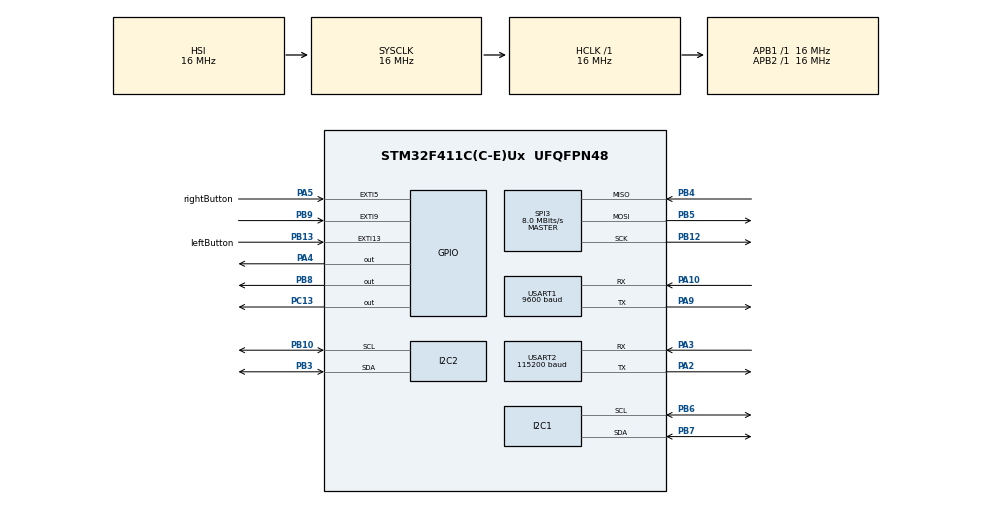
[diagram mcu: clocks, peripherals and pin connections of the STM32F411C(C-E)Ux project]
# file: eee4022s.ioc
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Mcu.Family=STM32F4
Mcu.Name=STM32F411C(C-E)Ux
Mcu.Package=UFQFPN48
NVIC.EXTI15_10_IRQn=true\:1\:0\:true\:false\:true\:true\:true\:true
NVIC.EXTI9_5_IRQn=true\:2\:0\:true\:false\:true\:true\:true\:true
NVIC.PriorityGroup=NVIC_PRIORITYGROUP_4
NVIC.TIM3_IRQn=true\:3\:0\:true\:false\:true\:true\:true\:true
NVIC.USART1_IRQn=true\:0\:0\:true\:false\:true\:true\:true\:true
NVIC.USART2_IRQn=true\:0\:0\:true\:false\:true\:true\:true\:true
PA10.Mode=Asynchronous
PA10.Signal=USART1_RX
PA2.Mode=Asynchronous
PA2.Signal=USART2_TX
PA3.Mode=Asynchronous
PA3.Signal=USART2_RX
PA4.PinState=GPIO_PIN_SET
PA4.Signal=GPIO_Output
PA5.GPIO_Label=rightButton
PA5.GPIO_ModeDefaultEXTI=GPIO_MODE_IT_FALLING
PA5.GPIO_PuPd=GPIO_PULLUP
PA5.Signal=GPXTI5
PA9.Mode=Asynchronous
PA9.Signal=USART1_TX
PB10.Mode=I2C
PB10.Signal=I2C2_SCL
PB12.Mode=Full_Duplex_Master
PB12.Signal=SPI3_SCK
PB13.GPIO_Label=leftButton
PB13.GPIO_ModeDefaultEXTI=GPIO_MODE_IT_FALLING
PB13.GPIO_PuPd=GPIO_PULLUP
PB13.Signal=GPXTI13
PB3.Mode=I2C
PB3.Signal=I2C2_SDA
PB4.Mode=Full_Duplex_Master
PB4.Signal=SPI3_MISO
PB5.Mode=Full_Duplex_Master
PB5.Signal=SPI3_MOSI
PB6.Mode=I2C
PB6.Signal=I2C1_SCL
PB7.Mode=I2C
PB7.Signal=I2C1_SDA
PB8.PinState=GPIO_PIN_SET
PB8.Signal=GPIO_Output
PB9.GPIO_ModeDefaultEXTI=GPIO_MODE_IT_RISING
PB9.Signal=GPXTI9
PC13-ANTI_TAMP.Signal=GPIO_Output
ProjectManager.HeapSize=0x200
ProjectManager.StackSize=0x400
ProjectManager.TargetToolchain=Makefile
RCC.AHBFreq_Value=16000000
RCC.APB1Freq_Value=16000000
RCC.APB1TimFreq_Value=16000000
RCC.APB2Freq_Value=16000000
RCC.APB2TimFreq_Value=16000000
RCC.CortexFreq_Value=16000000
RCC.HCLKFreq_Value=16000000
RCC.HSE_VALUE=25000000
RCC.HSI_VALUE=16000000
RCC.LSE_VALUE=32768
RCC.SYSCLKFreq_VALUE=16000000
RCC.VCOOutputFreq_Value=192000000
SPI3.BaudRatePrescaler=SPI_BAUDRATEPRESCALER_2
SPI3.CalculateBaudRate=8.0 MBits/s
SPI3.Direction=SPI_DIRECTION_2LINES
SPI3.Mode=SPI_MODE_MASTER
SPI3.VirtualType=VM_MASTER
TIM3.AutoReloadPreload=TIM_AUTORELOAD_PRELOAD_DISABLE
TIM3.Period=4000-1
TIM3.Prescaler=16000-1
USART1.BaudRate=9600
USART1.VirtualMode=VM_ASYNC
USART2.BaudRate=115200
USART2.VirtualMode=VM_ASYNC
VP_TIM3_VS_ClockSourceINT.Mode=Internal
board=custom

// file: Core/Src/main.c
/* USER CODE BEGIN Header */
/**
  ******************************************************************************
  * @file           : main.c
  * @brief          : Main program body
  ******************************************************************************
  * @attention
  *
  * Copyright (c) 2023 STMicroelectronics.
  * All rights reserved.
  *
  * This software is licensed under terms that can be found in the LICENSE file
  * in the root directory of this software component.
  * If no LICENSE file comes with this software, it is provided AS-IS.
  *
  ******************************************************************************
  */
/* USER CODE END Header */
#include "main.h"

/* USER CODE BEGIN Includes */
#include <stdio.h>
#include "minmea.h"
#include <stdlib.h>
#include <string.h>
#include <stdint.h>
#include "bmp280.h"
#include <float.h>
#include <math.h>
#include <LoRa.h>
#include "ssd1306.h"
#include "fonts.h"

/* USER CODE END Includes */

/* USER CODE BEGIN PD */
#define INDENT_SPACES "  "

/* USER CODE END PD */

I2C_HandleTypeDef hi2c1;
I2C_HandleTypeDef hi2c2;

SPI_HandleTypeDef hspi3;

TIM_HandleTypeDef htim3;

UART_HandleTypeDef huart1;
UART_HandleTypeDef huart2;

/* USER CODE BEGIN PV */
uint8_t gps_raw[512] = {"\0"};
uint8_t flag = 0;
char line[64] = {"\0"};
bool bme280p;
uint8_t transmit_data[256] = {"\0"};
LoRa myLoRa;
bool isLoraReady = true;
int preTicks = 0;
int currentTicks = 0;
int iMode = 1;
char sMode[10];
bool bModeChanged = true;
bool sendData = false;

bool beginTransmit = false;
uint16_t packetSize = 0;

//Variables to work out altitude

//Pressure at sea level
float P_b = 101325;

//Height that we are calculating
float altitude = 0;

BMP280_HandleTypedef bmp280;

float pressure, temperature, humidity;
char sPressure[128] = {"\0"};
char sTemperature[128] = {"\0"};
char sHumidity[128] = {"\0"};
char sAltitude[128] = {"\0"};

size_t size;
uint8_t Data[256] = {"\0"};

/* USER CODE END PV */

void SystemClock_Config(void);
static void MX_GPIO_Init(void);
static void MX_USART1_UART_Init(void);
static void MX_USART2_UART_Init(void);
static void MX_I2C1_Init(void);
static void MX_SPI3_Init(void);
static void MX_I2C2_Init(void);
static void MX_TIM3_Init(void);
/* USER CODE BEGIN PFP */
uint16_t buildDataPacket();

/* USER CODE END PFP */

int main(void)
{

  /* MCU Configuration--------------------------------------------------------*/

  /* Reset of all peripherals, Initializes the Flash interface and the Systick. */
  HAL_Init();

  /* Configure the system clock */
  SystemClock_Config();

  /* Initialize all configured peripherals */
  MX_GPIO_Init();
  MX_USART1_UART_Init();
  MX_USART2_UART_Init();
  MX_I2C1_Init();
  MX_SPI3_Init();
  MX_I2C2_Init();
  MX_TIM3_Init();
  /* USER CODE BEGIN 2 */

  // Start timer
  HAL_TIM_Base_Start_IT(&htim3);

  bmp280_init_default_params(&bmp280.params);
	bmp280.addr = 0x77;
	bmp280.i2c = &hi2c1;

	while (!bmp280_init(&bmp280, &bmp280.params)) {
		size = sprintf((char *)Data, "BMP280 initialization failed\n");
		HAL_UART_Transmit(&huart2, Data, size, 1000);
		HAL_Delay(2000);
	}
	bool bme280p = bmp280.id == BME280_CHIP_ID;
	size = sprintf((char *)Data, "\nBMP280: found %s\n", bme280p ? "BME280" : "BMP280");
	HAL_UART_Transmit(&huart2, Data, size, 1000);

  myLoRa = newLoRa();
  myLoRa.CS_port         = GPIOA;
  myLoRa.CS_pin          = GPIO_PIN_4;
  myLoRa.reset_port      = GPIOB;
  myLoRa.reset_pin       = GPIO_PIN_8;
  myLoRa.DIO0_port       = GPIOB;
  myLoRa.DIO0_pin        = GPIO_PIN_9;
  myLoRa.hSPIx           = &hspi3;

  myLoRa.frequency             = 433;             // default = 433 MHz
  myLoRa.spreadingFactor        = SF_7;            // default = SF_7
  myLoRa.bandWidth             = BW_7_8KHz;       // default = BW_125KHz
  myLoRa.crcRate               = CR_4_5;          // default = CR_4_5
  myLoRa.power                 = POWER_20db;      // default = 20db
  myLoRa.overCurrentProtection = 100;             // default = 100 mA
  myLoRa.preamble              = 8;              // default = 8;

  uint16_t ret = LoRa_init(&myLoRa);
  uint8_t buff[128] = {"\0"};

if (ret==LORA_OK){
  snprintf(buff,sizeof(buff),"LoRa is running... :) \n\r");
  size = strlen(&buff);
  LoRa_transmit(&myLoRa, (uint8_t*)buff, size, 100);
  HAL_UART_Transmit_IT(&huart2, buff, size);
}
else{
  snprintf(buff,sizeof(buff),"\n\r LoRa failed :( \n\r Error code: %d \n\r", ret);
  size = strlen(&buff);
  HAL_UART_Transmit_IT(&huart2, buff, size);
}

ssd1306_Init(&hi2c2);

// Set cursors and write the word "mode"
ssd1306_SetCursor(0, 0);
ssd1306_WriteString("Mode:", Font_16x26, White);

ssd1306_SetCursor(0, 35);
sprintf(sMode, "%d", iMode);
ssd1306_WriteString(sMode, Font_16x26, White);

// Copy all data from local screenbuffer to the screen
ssd1306_UpdateScreen(&hi2c2);

HAL_UARTEx_ReceiveToIdle(&huart1,(uint8_t*)gps_raw,512,512,1000);

  /* USER CODE END 2 */

  /* Infinite loop */
  /* USER CODE BEGIN WHILE */
  while (1)
  {

    if (beginTransmit) {
      //HAL_UART_Transmit(&huart2,(uint8_t *)gps_raw,512, 1000);
      HAL_UARTEx_ReceiveToIdle_IT(&huart1,(uint8_t*)gps_raw,512);
      packetSize = buildDataPacket();

      size = strlen(&transmit_data);
      ret = LoRa_transmit(&myLoRa, (uint8_t*)transmit_data, packetSize, 10000);
      memset(transmit_data, '\0', sizeof(transmit_data));

      // sprintf(transmit_data, "Data sent with code %u\n", ret);
      // size = strlen(&transmit_data);
	    // HAL_UART_Transmit(&huart2, (uint8_t *)transmit_data, size, 1000);
      // memset(transmit_data, '\0', sizeof(transmit_data));

      beginTransmit = false;
    }

    if (bModeChanged) {
switch (iMode) {
    case 1:
      // statements
      myLoRa.frequency             = 433;             // default = 433 MHz
      myLoRa.spreadingFactor        = SF_7;            // default = SF_7
      myLoRa.bandWidth             = BW_7_8KHz;       // default = BW_125KHz
      myLoRa.crcRate               = CR_4_5;          // default = CR_4_5
      myLoRa.power                 = POWER_20db;      // default = 20db
      myLoRa.overCurrentProtection = 100;             // default = 100 mA
      myLoRa.preamble              = 8;              // default = 8;
      LoRa_init(&myLoRa);
      break;

    case 2:
      // statements
      myLoRa.frequency             = 433;             // default = 433 MHz
      myLoRa.spreadingFactor        = SF_7;            // default = SF_7
      myLoRa.bandWidth             = BW_10_4KHz;       // default = BW_125KHz
      myLoRa.crcRate               = CR_4_5;          // default = CR_4_5
      myLoRa.power                 = POWER_20db;      // default = 20db
      myLoRa.overCurrentProtection = 100;             // default = 100 mA
      myLoRa.preamble              = 8;              // default = 8;
      LoRa_init(&myLoRa);
      break;

    case 3:
      // statements
      myLoRa.frequency             = 433;             // default = 433 MHz
      myLoRa.spreadingFactor        = SF_7;            // default = SF_7
      myLoRa.bandWidth             = BW_15_6KHz;       // default = BW_125KHz
      myLoRa.crcRate               = CR_4_5;          // default = CR_4_5
      myLoRa.power                 = POWER_20db;      // default = 20db
      myLoRa.overCurrentProtection = 100;             // default = 100 mA
      myLoRa.preamble              = 8;              // default = 8;
      LoRa_init(&myLoRa);
      break;

    case 4:
      // statements
      myLoRa.frequency             = 433;             // default = 433 MHz
      myLoRa.spreadingFactor        = SF_7;            // default = SF_7
      myLoRa.bandWidth             = BW_20_8KHz;       // default = BW_125KHz
      myLoRa.crcRate               = CR_4_5;          // default = CR_4_5
      myLoRa.power                 = POWER_20db;      // default = 20db
      myLoRa.overCurrentProtection = 100;             // default = 100 mA
      myLoRa.preamble              = 8;              // default = 8;
      LoRa_init(&myLoRa);
      break;

    case 5:
      // statements
      myLoRa.frequency             = 433;             // default = 433 MHz
      myLoRa.spreadingFactor        = SF_7;            // default = SF_7
      myLoRa.bandWidth             = BW_31_25KHz;       // default = BW_125KHz
      myLoRa.crcRate               = CR_4_5;          // default = CR_4_5
      myLoRa.power                 = POWER_20db;      // default = 20db
      myLoRa.overCurrentProtection = 100;             // default = 100 mA
      myLoRa.preamble              = 8;              // default = 8;
      LoRa_init(&myLoRa);
      break;

    case 6:
      // statements
      myLoRa.frequency             = 433;             // default = 433 MHz
      myLoRa.spreadingFactor        = SF_7;            // default = SF_7
      myLoRa.bandWidth             = BW_41_7KHz;       // default = BW_125KHz
      myLoRa.crcRate               = CR_4_5;          // default = CR_4_5
      myLoRa.power                 = POWER_20db;      // default = 20db
      myLoRa.overCurrentProtection = 100;             // default = 100 mA
      myLoRa.preamble              = 8;              // default = 8;
      LoRa_init(&myLoRa);
      break;

    case 7:
      // statements
      myLoRa.frequency             = 433;             // default = 433 MHz
      myLoRa.spreadingFactor        = SF_7;            // default = SF_7
      myLoRa.bandWidth             = BW_62_5KHz;       // default = BW_125KHz
      myLoRa.crcRate               = CR_4_5;          // default = CR_4_5
      myLoRa.power                 = POWER_20db;      // default = 20db
      myLoRa.overCurrentProtection = 100;             // default = 100 mA
      myLoRa.preamble              = 8;              // default = 8;
      LoRa_init(&myLoRa);
      break;

    case 8:
      // statements
      myLoRa.frequency             = 433;             // default = 433 MHz
      myLoRa.spreadingFactor        = SF_7;            // default = SF_7
      myLoRa.bandWidth             = BW_125KHz;       // default = BW_125KHz
      myLoRa.crcRate               = CR_4_5;          // default = CR_4_5
      myLoRa.power                 = POWER_20db;      // default = 20db
      myLoRa.overCurrentProtection = 100;             // default = 100 mA
      myLoRa.preamble              = 8;              // default = 8;
      LoRa_init(&myLoRa);
      break;

    case 9:
      // statements
      myLoRa.frequency             = 433;             // default = 433 MHz
      myLoRa.spreadingFactor        = SF_7;            // default = SF_7
      myLoRa.bandWidth             = BW_250KHz;       // default = BW_125KHz
      myLoRa.crcRate               = CR_4_5;          // default = CR_4_5
      myLoRa.power                 = POWER_20db;      // default = 20db
      myLoRa.overCurrentProtection = 100;             // default = 100 mA
      myLoRa.preamble              = 8;              // default = 8;
      LoRa_init(&myLoRa);
      break;

    case 10:
      // statements
      myLoRa.frequency             = 433;             // default = 433 MHz
      myLoRa.spreadingFactor        = SF_7;            // default = SF_7
      myLoRa.bandWidth             = BW_500KHz;       // default = BW_125KHz
      myLoRa.crcRate               = CR_4_5;          // default = CR_4_5
      myLoRa.power                 = POWER_20db;      // default = 20db
      myLoRa.overCurrentProtection = 100;             // default = 100 mA
      myLoRa.preamble              = 8;              // default = 8;
      LoRa_init(&myLoRa);
      break;

    case 11:
      // statements
      myLoRa.frequency             = 433;             // default = 433 MHz
      myLoRa.spreadingFactor        = SF_8;            // default = SF_7
      myLoRa.bandWidth             = BW_7_8KHz;       // default = BW_125KHz
      myLoRa.crcRate               = CR_4_5;          // default = CR_4_5
      myLoRa.power                 = POWER_20db;      // default = 20db
      myLoRa.overCurrentProtection = 100;             // default = 100 mA
      myLoRa.preamble              = 8;              // default = 8;
      LoRa_init(&myLoRa);
      break;

    case 12:
      // statements
      myLoRa.frequency             = 433;             // default = 433 MHz
      myLoRa.spreadingFactor        = SF_8;            // default = SF_7
      myLoRa.bandWidth             = BW_10_4KHz;       // default = BW_125KHz
      myLoRa.crcRate               = CR_4_5;          // default = CR_4_5
      myLoRa.power                 = POWER_20db;      // default = 20db
      myLoRa.overCurrentProtection = 100;             // default = 100 mA
      myLoRa.preamble              = 8;              // default = 8;
      LoRa_init(&myLoRa);
      break;

    case 13:
      // statements
      myLoRa.frequency             = 433;             // default = 433 MHz
      myLoRa.spreadingFactor        = SF_8;            // default = SF_7
      myLoRa.bandWidth             = BW_15_6KHz;       // default = BW_125KHz
      myLoRa.crcRate               = CR_4_5;          // default = CR_4_5
      myLoRa.power                 = POWER_20db;      // default = 20db
      myLoRa.overCurrentProtection = 100;             // default = 100 mA
      myLoRa.preamble              = 8;              // default = 8;
      LoRa_init(&myLoRa);
      break;

    case 14:
      // statements
      myLoRa.frequency             = 433;             // default = 433 MHz
      myLoRa.spreadingFactor        = SF_8;            // default = SF_7
      myLoRa.bandWidth             = BW_20_8KHz;       // default = BW_125KHz
      myLoRa.crcRate               = CR_4_5;          // default = CR_4_5
      myLoRa.power                 = POWER_20db;      // default = 20db
      myLoRa.overCurrentProtection = 100;             // default = 100 mA
      myLoRa.preamble              = 8;              // default = 8;
      LoRa_init(&myLoRa);
      break;

    case 15:
      // statements
      myLoRa.frequency             = 433;             // default = 433 MHz
      myLoRa.spreadingFactor        = SF_8;            // default = SF_7
      myLoRa.bandWidth             = BW_31_25KHz;       // default = BW_125KHz
      myLoRa.crcRate               = CR_4_5;          // default = CR_4_5
      myLoRa.power                 = POWER_20db;      // default = 20db
      myLoRa.overCurrentProtection = 100;             // default = 100 mA
      myLoRa.preamble              = 8;              // default = 8;
      LoRa_init(&myLoRa);
      break;

    case 16:
      // statements
      myLoRa.frequency             = 433;             // default = 433 MHz
      myLoRa.spreadingFactor        = SF_8;            // default = SF_7
      myLoRa.bandWidth             = BW_41_7KHz;       // default = BW_125KHz
      myLoRa.crcRate               = CR_4_5;          // default = CR_4_5
      myLoRa.power                 = POWER_20db;      // default = 20db
      myLoRa.overCurrentProtection = 100;             // default = 100 mA
      myLoRa.preamble              = 8;              // default = 8;
      LoRa_init(&myLoRa);
      break;

    case 17:
      // statements
      myLoRa.frequency             = 433;             // default = 433 MHz
      myLoRa.spreadingFactor        = SF_8;            // default = SF_7
      myLoRa.bandWidth             = BW_62_5KHz;       // default = BW_125KHz
      myLoRa.crcRate               = CR_4_5;          // default = CR_4_5
      myLoRa.power                 = POWER_20db;      // default = 20db
      myLoRa.overCurrentProtection = 100;             // default = 100 mA
      myLoRa.preamble              = 8;              // default = 8;
      LoRa_init(&myLoRa);
      break;

    case 18:
      // statements
      myLoRa.frequency             = 433;             // default = 433 MHz
      myLoRa.spreadingFactor        = SF_8;            // default = SF_7
      myLoRa.bandWidth             = BW_125KHz;       // default = BW_125KHz
      myLoRa.crcRate               = CR_4_5;          // default = CR_4_5
      myLoRa.power                 = POWER_20db;      // default = 20db
      myLoRa.overCurrentProtection = 100;             // default = 100 mA
      myLoRa.preamble              = 8;              // default = 8;
      LoRa_init(&myLoRa);
      break;

    case 19:
      // statements
      myLoRa.frequency             = 433;             // default = 433 MHz
      myLoRa.spreadingFactor        = SF_8;            // default = SF_7
      myLoRa.bandWidth             = BW_250KHz;       // default = BW_125KHz
      myLoRa.crcRate               = CR_4_5;          // default = CR_4_5
      myLoRa.power                 = POWER_20db;      // default = 20db
      myLoRa.overCurrentProtection = 100;             // default = 100 mA
      myLoRa.preamble              = 8;              // default = 8;
      LoRa_init(&myLoRa);
      break;

    case 20:
      // statements
      myLoRa.frequency             = 433;             // default = 433 MHz
      myLoRa.spreadingFactor        = SF_8;            // default = SF_7
      myLoRa.bandWidth             = BW_500KHz;       // default = BW_125KHz
      myLoRa.crcRate               = CR_4_5;          // default = CR_4_5
      myLoRa.power                 = POWER_20db;      // default = 20db
      myLoRa.overCurrentProtection = 100;             // default = 100 mA
      myLoRa.preamble              = 8;              // default = 8;
      LoRa_init(&myLoRa);
      break;

    case 21:
      // statements
      myLoRa.frequency             = 433;             // default = 433 MHz
      myLoRa.spreadingFactor        = SF_9;            // default = SF_7
      myLoRa.bandWidth             = BW_7_8KHz;       // default = BW_125KHz
      myLoRa.crcRate               = CR_4_5;          // default = CR_4_5
      myLoRa.power                 = POWER_20db;      // default = 20db
      myLoRa.overCurrentProtection = 100;             // default = 100 mA
      myLoRa.preamble              = 8;              // default = 8;
      LoRa_init(&myLoRa);
      break;

    case 22:
      // statements
      myLoRa.frequency             = 433;             // default = 433 MHz
      myLoRa.spreadingFactor        = SF_9;            // default = SF_7
      myLoRa.bandWidth             = BW_10_4KHz;       // default = BW_125KHz
      myLoRa.crcRate               = CR_4_5;          // default = CR_4_5
      myLoRa.power                 = POWER_20db;      // default = 20db
      myLoRa.overCurrentProtection = 100;             // default = 100 mA
      myLoRa.preamble              = 8;              // default = 8;
      LoRa_init(&myLoRa);
      break;

    case 23:
      // statements
      myLoRa.frequency             = 433;             // default = 433 MHz
      myLoRa.spreadingFactor        = SF_9;            // default = SF_7
      myLoRa.bandWidth             = BW_15_6KHz;       // default = BW_125KHz
      myLoRa.crcRate               = CR_4_5;          // default = CR_4_5
      myLoRa.power                 = POWER_20db;      // default = 20db
      myLoRa.overCurrentProtection = 100;             // default = 100 mA
      myLoRa.preamble              = 8;              // default = 8;
      LoRa_init(&myLoRa);
      break;

    case 24:
      // statements
      myLoRa.frequency             = 433;             // default = 433 MHz
      myLoRa.spreadingFactor        = SF_9;            // default = SF_7
      myLoRa.bandWidth             = BW_20_8KHz;       // default = BW_125KHz
      myLoRa.crcRate               = CR_4_5;          // default = CR_4_5
      myLoRa.power                 = POWER_20db;      // default = 20db
      myLoRa.overCurrentProtection = 100;             // default = 100 mA
      myLoRa.preamble              = 8;              // default = 8;
      LoRa_init(&myLoRa);
      break;

    case 25:
      // statements
      myLoRa.frequency             = 433;             // default = 433 MHz
      myLoRa.spreadingFactor        = SF_9;            // default = SF_7
      myLoRa.bandWidth             = BW_31_25KHz;       // default = BW_125KHz
      myLoRa.crcRate               = CR_4_5;          // default = CR_4_5
      myLoRa.power                 = POWER_20db;      // default = 20db
      myLoRa.overCurrentProtection = 100;             // default = 100 mA
      myLoRa.preamble              = 8;              // default = 8;
      LoRa_init(&myLoRa);
      break;

    case 26:
      // statements
      myLoRa.frequency             = 433;             // default = 433 MHz
      myLoRa.spreadingFactor        = SF_9;            // default = SF_7
      myLoRa.bandWidth             = BW_41_7KHz;       // default = BW_125KHz
      myLoRa.crcRate               = CR_4_5;          // default = CR_4_5
      myLoRa.power                 = POWER_20db;      // default = 20db
      myLoRa.overCurrentProtection = 100;             // default = 100 mA
      myLoRa.preamble              = 8;              // default = 8;
      LoRa_init(&myLoRa);
      break;

    case 27:
      // statements
      myLoRa.frequency             = 433;             // default = 433 MHz
      myLoRa.spreadingFactor        = SF_9;            // default = SF_7
      myLoRa.bandWidth             = BW_62_5KHz;       // default = BW_125KHz
      myLoRa.crcRate               = CR_4_5;          // default = CR_4_5
      myLoRa.power                 = POWER_20db;      // default = 20db
      myLoRa.overCurrentProtection = 100;             // default = 100 mA
      myLoRa.preamble              = 8;              // default = 8;
      LoRa_init(&myLoRa);
      break;

    case 28:
      // statements
      myLoRa.frequency             = 433;             // default = 433 MHz
      myLoRa.spreadingFactor        = SF_9;            // default = SF_7
      myLoRa.bandWidth             = BW_125KHz;       // default = BW_125KHz
      myLoRa.crcRate               = CR_4_5;          // default = CR_4_5
      myLoRa.power                 = POWER_20db;      // default = 20db
      myLoRa.overCurrentProtection = 100;             // default = 100 mA
      myLoRa.preamble              = 8;              // default = 8;
      LoRa_init(&myLoRa);
      break;

    case 29:
      // statements
      myLoRa.frequency             = 433;             // default = 433 MHz
      myLoRa.spreadingFactor        = SF_9;            // default = SF_7
      myLoRa.bandWidth             = BW_250KHz;       // default = BW_125KHz
      myLoRa.crcRate               = CR_4_5;          // default = CR_4_5
      myLoRa.power                 = POWER_20db;      // default = 20db
      myLoRa.overCurrentProtection = 100;             // default = 100 mA
      myLoRa.preamble              = 8;              // default = 8;
      LoRa_init(&myLoRa);
      break;

    case 30:
      // statements
      myLoRa.frequency             = 433;             // default = 433 MHz
      myLoRa.spreadingFactor        = SF_9;            // default = SF_7
      myLoRa.bandWidth             = BW_500KHz;       // default = BW_125KHz
      myLoRa.crcRate               = CR_4_5;          // default = CR_4_5
      myLoRa.power                 = POWER_20db;      // default = 20db
      myLoRa.overCurrentProtection = 100;             // default = 100 mA
      myLoRa.preamble              = 8;              // default = 8;
      LoRa_init(&myLoRa);
      break;

    case 31:
      // statements
      myLoRa.frequency             = 433;             // default = 433 MHz
      myLoRa.spreadingFactor        = SF_10;            // default = SF_7
      myLoRa.bandWidth             = BW_7_8KHz;       // default = BW_125KHz
      myLoRa.crcRate               = CR_4_5;          // default = CR_4_5
      myLoRa.power                 = POWER_20db;      // default = 20db
      myLoRa.overCurrentProtection = 100;             // default = 100 mA
      myLoRa.preamble              = 8;              // default = 8;
      LoRa_init(&myLoRa);
      break;

    case 32:
      // statements
      myLoRa.frequency             = 433;             // default = 433 MHz
      myLoRa.spreadingFactor        = SF_10;            // default = SF_7
      myLoRa.bandWidth             = BW_10_4KHz;       // default = BW_125KHz
      myLoRa.crcRate               = CR_4_5;          // default = CR_4_5
      myLoRa.power                 = POWER_20db;      // default = 20db
      myLoRa.overCurrentProtection = 100;             // default = 100 mA
      myLoRa.preamble              = 8;              // default = 8;
      LoRa_init(&myLoRa);
      break;

    case 33:
      // statements
      myLoRa.frequency             = 433;             // default = 433 MHz
      myLoRa.spreadingFactor        = SF_10;            // default = SF_7
      myLoRa.bandWidth             = BW_15_6KHz;       // default = BW_125KHz
      myLoRa.crcRate               = CR_4_5;          // default = CR_4_5
      myLoRa.power                 = POWER_20db;      // default = 20db
      myLoRa.overCurrentProtection = 100;             // default = 100 mA
      myLoRa.preamble              = 8;              // default = 8;
      LoRa_init(&myLoRa);
      break;

    case 34:
      // statements
      myLoRa.frequency             = 433;             // default = 433 MHz
      myLoRa.spreadingFactor        = SF_10;            // default = SF_7
      myLoRa.bandWidth             = BW_20_8KHz;       // default = BW_125KHz
      myLoRa.crcRate               = CR_4_5;          // default = CR_4_5
      myLoRa.power                 = POWER_20db;      // default = 20db
      myLoRa.overCurrentProtection = 100;             // default = 100 mA
      myLoRa.preamble              = 8;              // default = 8;
      LoRa_init(&myLoRa);
      break;

    case 35:
      // statements
      myLoRa.frequency             = 433;             // default = 433 MHz
      myLoRa.spreadingFactor        = SF_10;            // default = SF_7
      myLoRa.bandWidth             = BW_31_25KHz;       // default = BW_125KHz
      myLoRa.crcRate               = CR_4_5;          // default = CR_4_5
      myLoRa.power                 = POWER_20db;      // default = 20db
      myLoRa.overCurrentProtection = 100;             // default = 100 mA
      myLoRa.preamble              = 8;              // default = 8;
      LoRa_init(&myLoRa);
      break;

    case 36:
      // statements
      myLoRa.frequency             = 433;             // default = 433 MHz
      myLoRa.spreadingFactor        = SF_10;            // default = SF_7
      myLoRa.bandWidth             = BW_41_7KHz;       // default = BW_125KHz
      myLoRa.crcRate               = CR_4_5;          // default = CR_4_5
      myLoRa.power                 = POWER_20db;      // default = 20db
      myLoRa.overCurrentProtection = 100;             // default = 100 mA
      myLoRa.preamble              = 8;              // default = 8;
      LoRa_init(&myLoRa);
      break;

    case 37:
      // statements
      myLoRa.frequency             = 433;             // default = 433 MHz
      myLoRa.spreadingFactor        = SF_10;            // default = SF_7
      myLoRa.bandWidth             = BW_62_5KHz;       // default = BW_125KHz
      myLoRa.crcRate               = CR_4_5;          // default = CR_4_5
      myLoRa.power                 = POWER_20db;      // default = 20db
      myLoRa.overCurrentProtection = 100;             // default = 100 mA
      myLoRa.preamble              = 8;              // default = 8;
      LoRa_init(&myLoRa);
      break;

    case 38:
      // statements
      myLoRa.frequency             = 433;             // default = 433 MHz
      myLoRa.spreadingFactor        = SF_10;            // default = SF_7
      myLoRa.bandWidth             = BW_125KHz;       // default = BW_125KHz
      myLoRa.crcRate               = CR_4_5;          // default = CR_4_5
      myLoRa.power                 = POWER_20db;      // default = 20db
      myLoRa.overCurrentProtection = 100;             // default = 100 mA
      myLoRa.preamble              = 8;              // default = 8;
      LoRa_init(&myLoRa);
      break;

    case 39:
      // statements
      myLoRa.frequency             = 433;             // default = 433 MHz
      myLoRa.spreadingFactor        = SF_10;            // default = SF_7
      myLoRa.bandWidth             = BW_250KHz;       // default = BW_125KHz
      myLoRa.crcRate               = CR_4_5;          // default = CR_4_5
      myLoRa.power                 = POWER_20db;      // default = 20db
      myLoRa.overCurrentProtection = 100;             // default = 100 mA
      myLoRa.preamble              = 8;              // default = 8;
      LoRa_init(&myLoRa);
      break;

    case 40:
      // statements
      myLoRa.frequency             = 433;             // default = 433 MHz
      myLoRa.spreadingFactor        = SF_10;            // default = SF_7
      myLoRa.bandWidth             = BW_500KHz;       // default = BW_125KHz
      myLoRa.crcRate               = CR_4_5;          // default = CR_4_5
      myLoRa.power                 = POWER_20db;      // default = 20db
      myLoRa.overCurrentProtection = 100;             // default = 100 mA
      myLoRa.preamble              = 8;              // default = 8;
      LoRa_init(&myLoRa);
      break;

    case 41:
      // statements
      myLoRa.frequency             = 433;             // default = 433 MHz
      myLoRa.spreadingFactor        = SF_11;            // default = SF_7
      myLoRa.bandWidth             = BW_7_8KHz;       // default = BW_125KHz
      myLoRa.crcRate               = CR_4_5;          // default = CR_4_5
      myLoRa.power                 = POWER_20db;      // default = 20db
      myLoRa.overCurrentProtection = 100;             // default = 100 mA
      myLoRa.preamble              = 8;              // default = 8;
      LoRa_init(&myLoRa);
      break;

    case 42:
      // statements
      myLoRa.frequency             = 433;             // default = 433 MHz
      myLoRa.spreadingFactor        = SF_11;            // default = SF_7
      myLoRa.bandWidth             = BW_10_4KHz;       // default = BW_125KHz
      myLoRa.crcRate               = CR_4_5;          // default = CR_4_5
      myLoRa.power                 = POWER_20db;      // default = 20db
      myLoRa.overCurrentProtection = 100;             // default = 100 mA
      myLoRa.preamble              = 8;              // default = 8;
      LoRa_init(&myLoRa);
      break;

    case 43:
      // statements
      myLoRa.frequency             = 433;             // default = 433 MHz
      myLoRa.spreadingFactor        = SF_11;            // default = SF_7
      myLoRa.bandWidth             = BW_15_6KHz;       // default = BW_125KHz
      myLoRa.crcRate               = CR_4_5;          // default = CR_4_5
      myLoRa.power                 = POWER_20db;      // default = 20db
      myLoRa.overCurrentProtection = 100;             // default = 100 mA
      myLoRa.preamble              = 8;              // default = 8;
      LoRa_init(&myLoRa);
      break;

    case 44:
      // statements
      myLoRa.frequency             = 433;             // default = 433 MHz
      myLoRa.spreadingFactor        = SF_11;            // default = SF_7
      myLoRa.bandWidth             = BW_20_8KHz;       // default = BW_125KHz
      myLoRa.crcRate               = CR_4_5;          // default = CR_4_5
      myLoRa.power                 = POWER_20db;      // default = 20db
      myLoRa.overCurrentProtection = 100;             // default = 100 mA
      myLoRa.preamble              = 8;              // default = 8;
      LoRa_init(&myLoRa);
      break;

    case 45:
      // statements
      myLoRa.frequency             = 433;             // default = 433 MHz
      myLoRa.spreadingFactor        = SF_11;            // default = SF_7
      myLoRa.bandWidth             = BW_31_25KHz;       // default = BW_125KHz
      myLoRa.crcRate               = CR_4_5;          // default = CR_4_5
      myLoRa.power                 = POWER_20db;      // default = 20db
      myLoRa.overCurrentProtection = 100;             // default = 100 mA
      myLoRa.preamble              = 8;              // default = 8;
      LoRa_init(&myLoRa);
      break;

    case 46:
      // statements
      myLoRa.frequency             = 433;             // default = 433 MHz
      myLoRa.spreadingFactor        = SF_11;            // default = SF_7
      myLoRa.bandWidth             = BW_41_7KHz;       // default = BW_125KHz
      myLoRa.crcRate               = CR_4_5;          // default = CR_4_5
      myLoRa.power                 = POWER_20db;      // default = 20db
      myLoRa.overCurrentProtection = 100;             // default = 100 mA
      myLoRa.preamble              = 8;              // default = 8;
      LoRa_init(&myLoRa);
      break;

    case 47:
      // statements
      myLoRa.frequency             = 433;             // default = 433 MHz
      myLoRa.spreadingFactor        = SF_11;            // default = SF_7
      myLoRa.bandWidth             = BW_62_5KHz;       // default = BW_125KHz
      myLoRa.crcRate               = CR_4_5;          // default = CR_4_5
      myLoRa.power                 = POWER_20db;      // default = 20db
      myLoRa.overCurrentProtection = 100;             // default = 100 mA
      myLoRa.preamble              = 8;              // default = 8;
      LoRa_init(&myLoRa);
      break;

    case 48:
      // statements
      myLoRa.frequency             = 433;             // default = 433 MHz
      myLoRa.spreadingFactor        = SF_11;            // default = SF_7
      myLoRa.bandWidth             = BW_125KHz;       // default = BW_125KHz
      myLoRa.crcRate               = CR_4_5;          // default = CR_4_5
      myLoRa.power                 = POWER_20db;      // default = 20db
      myLoRa.overCurrentProtection = 100;             // default = 100 mA
      myLoRa.preamble              = 8;              // default = 8;
      LoRa_init(&myLoRa);
      break;

    case 49:
      // statements
      myLoRa.frequency             = 433;             // default = 433 MHz
      myLoRa.spreadingFactor        = SF_11;            // default = SF_7
      myLoRa.bandWidth             = BW_250KHz;       // default = BW_125KHz
      myLoRa.crcRate               = CR_4_5;          // default = CR_4_5
      myLoRa.power                 = POWER_20db;      // default = 20db
      myLoRa.overCurrentProtection = 100;             // default = 100 mA
      myLoRa.preamble              = 8;              // default = 8;
      LoRa_init(&myLoRa);
      break;

    case 50:
      // statements
      myLoRa.frequency             = 433;             // default = 433 MHz
      myLoRa.spreadingFactor        = SF_11;            // default = SF_7
      myLoRa.bandWidth             = BW_500KHz;       // default = BW_125KHz
      myLoRa.crcRate               = CR_4_5;          // default = CR_4_5
      myLoRa.power                 = POWER_20db;      // default = 20db
      myLoRa.overCurrentProtection = 100;             // default = 100 mA
      myLoRa.preamble              = 8;              // default = 8;
      LoRa_init(&myLoRa);
      break;

    case 51:
      // statements
      myLoRa.frequency             = 433;             // default = 433 MHz
      myLoRa.spreadingFactor        = SF_12;            // default = SF_7
      myLoRa.bandWidth             = BW_7_8KHz;       // default = BW_125KHz
      myLoRa.crcRate               = CR_4_5;          // default = CR_4_5
      myLoRa.power                 = POWER_20db;      // default = 20db
      myLoRa.overCurrentProtection = 100;             // default = 100 mA
      myLoRa.preamble              = 8;              // default = 8;
      LoRa_init(&myLoRa);
      break;

    case 52:
      // statements
      myLoRa.frequency             = 433;             // default = 433 MHz
      myLoRa.spreadingFactor        = SF_12;            // default = SF_7
      myLoRa.bandWidth             = BW_10_4KHz;       // default = BW_125KHz
      myLoRa.crcRate               = CR_4_5;          // default = CR_4_5
      myLoRa.power                 = POWER_20db;      // default = 20db
      myLoRa.overCurrentProtection = 100;             // default = 100 mA
      myLoRa.preamble              = 8;              // default = 8;
      LoRa_init(&myLoRa);
      break;

    case 53:
      // statements
      myLoRa.frequency             = 433;             // default = 433 MHz
      myLoRa.spreadingFactor        = SF_12;            // default = SF_7
      myLoRa.bandWidth             = BW_15_6KHz;       // default = BW_125KHz
      myLoRa.crcRate               = CR_4_5;          // default = CR_4_5
      myLoRa.power                 = POWER_20db;      // default = 20db
      myLoRa.overCurrentProtection = 100;             // default = 100 mA
      myLoRa.preamble              = 8;              // default = 8;
      LoRa_init(&myLoRa);
      break;

    case 54:
      // statements
      myLoRa.frequency             = 433;             // default = 433 MHz
      myLoRa.spreadingFactor        = SF_12;            // default = SF_7
      myLoRa.bandWidth             = BW_20_8KHz;       // default = BW_125KHz
      myLoRa.crcRate               = CR_4_5;          // default = CR_4_5
      myLoRa.power                 = POWER_20db;      // default = 20db
      myLoRa.overCurrentProtection = 100;             // default = 100 mA
      myLoRa.preamble              = 8;              // default = 8;
      LoRa_init(&myLoRa);
      break;

    case 55:
      // statements
      myLoRa.frequency             = 433;             // default = 433 MHz
      myLoRa.spreadingFactor        = SF_12;            // default = SF_7
      myLoRa.bandWidth             = BW_31_25KHz;       // default = BW_125KHz
      myLoRa.crcRate               = CR_4_5;          // default = CR_4_5
      myLoRa.power                 = POWER_20db;      // default = 20db
      myLoRa.overCurrentProtection = 100;             // default = 100 mA
      myLoRa.preamble              = 8;              // default = 8;
      LoRa_init(&myLoRa);
      break;

    case 56:
      // statements
      myLoRa.frequency             = 433;             // default = 433 MHz
      myLoRa.spreadingFactor        = SF_12;            // default = SF_7
      myLoRa.bandWidth             = BW_41_7KHz;       // default = BW_125KHz
      myLoRa.crcRate               = CR_4_5;          // default = CR_4_5
      myLoRa.power                 = POWER_20db;      // default = 20db
      myLoRa.overCurrentProtection = 100;             // default = 100 mA
      myLoRa.preamble              = 8;              // default = 8;
      LoRa_init(&myLoRa);
      break;

    case 57:
      // statements
      myLoRa.frequency             = 433;             // default = 433 MHz
      myLoRa.spreadingFactor        = SF_12;            // default = SF_7
      myLoRa.bandWidth             = BW_62_5KHz;       // default = BW_125KHz
      myLoRa.crcRate               = CR_4_5;          // default = CR_4_5
      myLoRa.power                 = POWER_20db;      // default = 20db
      myLoRa.overCurrentProtection = 100;             // default = 100 mA
      myLoRa.preamble              = 8;              // default = 8;
      LoRa_init(&myLoRa);
      break;

    case 58:
      // statements
      myLoRa.frequency             = 433;             // default = 433 MHz
      myLoRa.spreadingFactor        = SF_12;            // default = SF_7
      myLoRa.bandWidth             = BW_125KHz;       // default = BW_125KHz
      myLoRa.crcRate               = CR_4_5;          // default = CR_4_5
      myLoRa.power                 = POWER_20db;      // default = 20db
      myLoRa.overCurrentProtection = 100;             // default = 100 mA
      myLoRa.preamble              = 8;              // default = 8;
      LoRa_init(&myLoRa);
      break;

    case 59:
      // statements
      myLoRa.frequency             = 433;             // default = 433 MHz
      myLoRa.spreadingFactor        = SF_12;            // default = SF_7
      myLoRa.bandWidth             = BW_250KHz;       // default = BW_125KHz
      myLoRa.crcRate               = CR_4_5;          // default = CR_4_5
      myLoRa.power                 = POWER_20db;      // default = 20db
      myLoRa.overCurrentProtection = 100;             // default = 100 mA
      myLoRa.preamble              = 8;              // default = 8;
      LoRa_init(&myLoRa);
      break;

    case 60:
      // statements
      myLoRa.frequency             = 433;             // default = 433 MHz
      myLoRa.spreadingFactor        = SF_12;            // default = SF_7
      myLoRa.bandWidth             = BW_500KHz;       // default = BW_125KHz
      myLoRa.crcRate               = CR_4_5;          // default = CR_4_5
      myLoRa.power                 = POWER_20db;      // default = 20db
      myLoRa.overCurrentProtection = 100;             // default = 100 mA
      myLoRa.preamble              = 8;              // default = 8;
      LoRa_init(&myLoRa);
      break;

    default:
      // default statements
}
      bModeChanged = false;

      // sprintf(transmit_data, "Data Optimization %d\n", myLoRa.lowDataRateOptimization);
      // size = strlen(&transmit_data);
	    // HAL_UART_Transmit(&huart2, (uint8_t *)transmit_data, size, 1000);
      // memset(transmit_data, '\0', sizeof(transmit_data));
    }

    /* USER CODE END WHILE */

    /* USER CODE BEGIN 3 */
    //HAL_UART_Transmit_IT(&huart2, (uint8_t *)Gpsdata, sizeof(Gpsdata));
    //HAL_GPIO_TogglePin(GPIOC, GPIO_PIN_13);
    HAL_UARTEx_ReceiveToIdle_IT(&huart1,(uint8_t*)gps_raw,512);

  }
  /* USER CODE END 3 */
}

void SystemClock_Config(void)
{
  RCC_OscInitTypeDef RCC_OscInitStruct = {0};
  RCC_ClkInitTypeDef RCC_ClkInitStruct = {0};

  /** Configure the main internal regulator output voltage
  */
  __HAL_RCC_PWR_CLK_ENABLE();
  __HAL_PWR_VOLTAGESCALING_CONFIG(PWR_REGULATOR_VOLTAGE_SCALE1);

  /** Initializes the RCC Oscillators according to the specified parameters
  * in the RCC_OscInitTypeDef structure.
  */
  RCC_OscInitStruct.OscillatorType = RCC_OSCILLATORTYPE_HSI;
  RCC_OscInitStruct.HSIState = RCC_HSI_ON;
  RCC_OscInitStruct.HSICalibrationValue = RCC_HSICALIBRATION_DEFAULT;
  RCC_OscInitStruct.PLL.PLLState = RCC_PLL_NONE;
  if (HAL_RCC_OscConfig(&RCC_OscInitStruct) != HAL_OK)
  {
    Error_Handler();
  }

  /** Initializes the CPU, AHB and APB buses clocks
  */
  RCC_ClkInitStruct.ClockType = RCC_CLOCKTYPE_HCLK|RCC_CLOCKTYPE_SYSCLK
                              |RCC_CLOCKTYPE_PCLK1|RCC_CLOCKTYPE_PCLK2;
  RCC_ClkInitStruct.SYSCLKSource = RCC_SYSCLKSOURCE_HSI;
  RCC_ClkInitStruct.AHBCLKDivider = RCC_SYSCLK_DIV1;
  RCC_ClkInitStruct.APB1CLKDivider = RCC_HCLK_DIV1;
  RCC_ClkInitStruct.APB2CLKDivider = RCC_HCLK_DIV1;

  if (HAL_RCC_ClockConfig(&RCC_ClkInitStruct, FLASH_LATENCY_0) != HAL_OK)
  {
    Error_Handler();
  }
}

static void MX_I2C1_Init(void)
{

  hi2c1.Instance = I2C1;
  hi2c1.Init.ClockSpeed = 100000;
  hi2c1.Init.DutyCycle = I2C_DUTYCYCLE_2;
  hi2c1.Init.OwnAddress1 = 0;
  hi2c1.Init.AddressingMode = I2C_ADDRESSINGMODE_7BIT;
  hi2c1.Init.DualAddressMode = I2C_DUALADDRESS_DISABLE;
  hi2c1.Init.OwnAddress2 = 0;
  hi2c1.Init.GeneralCallMode = I2C_GENERALCALL_DISABLE;
  hi2c1.Init.NoStretchMode = I2C_NOSTRETCH_DISABLE;
  if (HAL_I2C_Init(&hi2c1) != HAL_OK)
  {
    Error_Handler();
  }

}

static void MX_I2C2_Init(void)
{

  hi2c2.Instance = I2C2;
  hi2c2.Init.ClockSpeed = 100000;
  hi2c2.Init.DutyCycle = I2C_DUTYCYCLE_2;
  hi2c2.Init.OwnAddress1 = 0;
  hi2c2.Init.AddressingMode = I2C_ADDRESSINGMODE_7BIT;
  hi2c2.Init.DualAddressMode = I2C_DUALADDRESS_DISABLE;
  hi2c2.Init.OwnAddress2 = 0;
  hi2c2.Init.GeneralCallMode = I2C_GENERALCALL_DISABLE;
  hi2c2.Init.NoStretchMode = I2C_NOSTRETCH_DISABLE;
  if (HAL_I2C_Init(&hi2c2) != HAL_OK)
  {
    Error_Handler();
  }

}

static void MX_SPI3_Init(void)
{

  /* SPI3 parameter configuration*/
  hspi3.Instance = SPI3;
  hspi3.Init.Mode = SPI_MODE_MASTER;
  hspi3.Init.Direction = SPI_DIRECTION_2LINES;
  hspi3.Init.DataSize = SPI_DATASIZE_8BIT;
  hspi3.Init.CLKPolarity = SPI_POLARITY_LOW;
  hspi3.Init.CLKPhase = SPI_PHASE_1EDGE;
  hspi3.Init.NSS = SPI_NSS_SOFT;
  hspi3.Init.BaudRatePrescaler = SPI_BAUDRATEPRESCALER_2;
  hspi3.Init.FirstBit = SPI_FIRSTBIT_MSB;
  hspi3.Init.TIMode = SPI_TIMODE_DISABLE;
  hspi3.Init.CRCCalculation = SPI_CRCCALCULATION_DISABLE;
  hspi3.Init.CRCPolynomial = 10;
  if (HAL_SPI_Init(&hspi3) != HAL_OK)
  {
    Error_Handler();
  }

}

static void MX_TIM3_Init(void)
{

  TIM_ClockConfigTypeDef sClockSourceConfig = {0};
  TIM_MasterConfigTypeDef sMasterConfig = {0};

  htim3.Instance = TIM3;
  htim3.Init.Prescaler = 16000-1;
  htim3.Init.CounterMode = TIM_COUNTERMODE_UP;
  htim3.Init.Period = 4000-1;
  htim3.Init.ClockDivision = TIM_CLOCKDIVISION_DIV1;
  htim3.Init.AutoReloadPreload = TIM_AUTORELOAD_PRELOAD_DISABLE;
  if (HAL_TIM_Base_Init(&htim3) != HAL_OK)
  {
    Error_Handler();
  }
  sClockSourceConfig.ClockSource = TIM_CLOCKSOURCE_INTERNAL;
  if (HAL_TIM_ConfigClockSource(&htim3, &sClockSourceConfig) != HAL_OK)
  {
    Error_Handler();
  }
  sMasterConfig.MasterOutputTrigger = TIM_TRGO_RESET;
  sMasterConfig.MasterSlaveMode = TIM_MASTERSLAVEMODE_DISABLE;
  if (HAL_TIMEx_MasterConfigSynchronization(&htim3, &sMasterConfig) != HAL_OK)
  {
    Error_Handler();
  }

}

static void MX_USART1_UART_Init(void)
{

  huart1.Instance = USART1;
  huart1.Init.BaudRate = 9600;
  huart1.Init.WordLength = UART_WORDLENGTH_8B;
  huart1.Init.StopBits = UART_STOPBITS_1;
  huart1.Init.Parity = UART_PARITY_NONE;
  huart1.Init.Mode = UART_MODE_TX_RX;
  huart1.Init.HwFlowCtl = UART_HWCONTROL_NONE;
  huart1.Init.OverSampling = UART_OVERSAMPLING_16;
  if (HAL_UART_Init(&huart1) != HAL_OK)
  {
    Error_Handler();
  }

}

static void MX_USART2_UART_Init(void)
{

  huart2.Instance = USART2;
  huart2.Init.BaudRate = 115200;
  huart2.Init.WordLength = UART_WORDLENGTH_8B;
  huart2.Init.StopBits = UART_STOPBITS_1;
  huart2.Init.Parity = UART_PARITY_NONE;
  huart2.Init.Mode = UART_MODE_TX_RX;
  huart2.Init.HwFlowCtl = UART_HWCONTROL_NONE;
  huart2.Init.OverSampling = UART_OVERSAMPLING_16;
  if (HAL_UART_Init(&huart2) != HAL_OK)
  {
    Error_Handler();
  }

}

static void MX_GPIO_Init(void)
{
  GPIO_InitTypeDef GPIO_InitStruct = {0};

  /* GPIO Ports Clock Enable */
  __HAL_RCC_GPIOC_CLK_ENABLE();
  __HAL_RCC_GPIOA_CLK_ENABLE();
  __HAL_RCC_GPIOB_CLK_ENABLE();

  /*Configure GPIO pin Output Level */
  HAL_GPIO_WritePin(GPIOC, GPIO_PIN_13, GPIO_PIN_RESET);

  /*Configure GPIO pin Output Level */
  HAL_GPIO_WritePin(GPIOA, GPIO_PIN_4, GPIO_PIN_SET);

  /*Configure GPIO pin Output Level */
  HAL_GPIO_WritePin(GPIOB, GPIO_PIN_8, GPIO_PIN_SET);

  /*Configure GPIO pin : PC13 */
  GPIO_InitStruct.Pin = GPIO_PIN_13;
  GPIO_InitStruct.Mode = GPIO_MODE_OUTPUT_PP;
  GPIO_InitStruct.Pull = GPIO_NOPULL;
  GPIO_InitStruct.Speed = GPIO_SPEED_FREQ_LOW;
  HAL_GPIO_Init(GPIOC, &GPIO_InitStruct);

  /*Configure GPIO pin : PA4 */
  GPIO_InitStruct.Pin = GPIO_PIN_4;
  GPIO_InitStruct.Mode = GPIO_MODE_OUTPUT_PP;
  GPIO_InitStruct.Pull = GPIO_NOPULL;
  GPIO_InitStruct.Speed = GPIO_SPEED_FREQ_LOW;
  HAL_GPIO_Init(GPIOA, &GPIO_InitStruct);

  /*Configure GPIO pin : rightButton_Pin */
  GPIO_InitStruct.Pin = rightButton_Pin;
  GPIO_InitStruct.Mode = GPIO_MODE_IT_FALLING;
  GPIO_InitStruct.Pull = GPIO_PULLUP;
  HAL_GPIO_Init(rightButton_GPIO_Port, &GPIO_InitStruct);

  /*Configure GPIO pin : leftButton_Pin */
  GPIO_InitStruct.Pin = leftButton_Pin;
  GPIO_InitStruct.Mode = GPIO_MODE_IT_FALLING;
  GPIO_InitStruct.Pull = GPIO_PULLUP;
  HAL_GPIO_Init(leftButton_GPIO_Port, &GPIO_InitStruct);

  /*Configure GPIO pin : PB8 */
  GPIO_InitStruct.Pin = GPIO_PIN_8;
  GPIO_InitStruct.Mode = GPIO_MODE_OUTPUT_PP;
  GPIO_InitStruct.Pull = GPIO_NOPULL;
  GPIO_InitStruct.Speed = GPIO_SPEED_FREQ_LOW;
  HAL_GPIO_Init(GPIOB, &GPIO_InitStruct);

  /*Configure GPIO pin : PB9 */
  GPIO_InitStruct.Pin = GPIO_PIN_9;
  GPIO_InitStruct.Mode = GPIO_MODE_IT_RISING;
  GPIO_InitStruct.Pull = GPIO_NOPULL;
  HAL_GPIO_Init(GPIOB, &GPIO_InitStruct);

  /* EXTI interrupt init*/
  HAL_NVIC_SetPriority(EXTI9_5_IRQn, 0, 0);
  HAL_NVIC_EnableIRQ(EXTI9_5_IRQn);

  HAL_NVIC_SetPriority(EXTI15_10_IRQn, 0, 0);
  HAL_NVIC_EnableIRQ(EXTI15_10_IRQn);

}

/* USER CODE BEGIN 4 */
uint16_t buildDataPacket() {
  //Set memory of line_out to emtpy
  //memset(line_out, '\0', sizeof(line_out));
  memset(transmit_data, '\0', sizeof(transmit_data));

  //Copy a new line character to line_out
  //memcpy(line_out, "\r\n\n", sizeof("\r\n\n"));
  //memcpy(transmit_data, "\r\n\n", sizeof("\r\n\n"));

  //Transmit the data over uart2
  //HAL_UART_Transmit(&huart2, (uint8_t*)line_out, sizeof(line_out)/sizeof(line_out[0]), 1000);

  //Search for the \n character
  uint8_t *token = strtok(gps_raw, "\n");

  if (token == NULL) {
    //break
  } else {
    //memset(line, '\0', sizeof(line));
    strcpy(line, token);
    struct minmea_sentence_rmc frame;
    if (minmea_parse_rmc(&frame, line)) {
      //Set gps_raw data register to empty
      memset(gps_raw, '\0', sizeof(gps_raw));
      //memset(line_out, '\0', sizeof(line_out));
      sprintf(transmit_data + strlen(transmit_data),"%d:%d:%d|",frame.time.hours, frame.time.minutes,frame.time.seconds);
      //HAL_UART_Transmit(&huart2, (uint8_t*)line_out, sizeof(line_out)/sizeof(line_out[0]), 1000);

      //memset(line_out, '\0', sizeof(line_out));
      sprintf(transmit_data + strlen(transmit_data), "(%d,%d)|", frame.latitude.value,frame.longitude.value);
      //HAL_UART_Transmit(&huart2, (uint8_t*)line_out, sizeof(line_out)/sizeof(line_out[0]), 1000);
    }
  }

  	//HAL_Delay(100);
	while (!bmp280_read_float(&bmp280, &temperature, &pressure, &humidity)) {
	  size = sprintf(transmit_data + strlen(transmit_data),"Temperature/pressure reading failed\n");
	}

  altitude = 44330*(1-pow((pressure/P_b),(1/5.255)));

  gcvt(altitude, 6, sAltitude);
  gcvt(pressure, 8, sPressure);
  gcvt(temperature, 4, sTemperature);
  gcvt(humidity, 4, sHumidity);

	sprintf(transmit_data + strlen(transmit_data),"%s|%s|%s|%s",sPressure, sTemperature, sHumidity, sAltitude);
  return strlen(transmit_data);
}

void HAL_GPIO_EXTI_Callback(uint16_t GPIO_Pin)
{
  if(GPIO_Pin == GPIO_PIN_13) // Left button pushed
    {
      //get the current time
      currentTicks = HAL_GetTick();
      if (((currentTicks-preTicks)>200)) {
        memset(transmit_data, '\0', sizeof(transmit_data));
        sprintf(transmit_data,"%s","\nLeft Button Pushed");
	      HAL_UART_Transmit(&huart2, transmit_data, sizeof(transmit_data)/sizeof(transmit_data[0]),1000);
        memset(transmit_data, '\0', sizeof(transmit_data));
        bModeChanged = true;

        if (iMode == 1) {
          iMode = 60;
          // Set cursors and write the word "mode"
          ssd1306_SetCursor(0, 0);
          ssd1306_WriteString("Mode:", Font_16x26, White);

          ssd1306_SetCursor(0, 35);
          sprintf(sMode, "%d        ", iMode);
          ssd1306_WriteString(sMode, Font_16x26, White);

          // Copy all data from local screenbuffer to the screen
          ssd1306_UpdateScreen(&hi2c2);
        } else {
          iMode = iMode - 1;
          // Set cursors and write the word "mode"
          ssd1306_SetCursor(0, 0);
          ssd1306_WriteString("Mode:", Font_16x26, White);

          ssd1306_SetCursor(0, 35);
          sprintf(sMode, "%d        ", iMode);
          ssd1306_WriteString(sMode, Font_16x26, White);

          // Copy all data from local screenbuffer to the screen
          ssd1306_UpdateScreen(&hi2c2);

        }

      } else {
        //break
      }
    }

  if(GPIO_Pin == GPIO_PIN_5) // Right button pushed
    {
      //get the current time
      currentTicks = HAL_GetTick();
      if (((currentTicks-preTicks)>200 )) {
        memset(transmit_data, '\0', sizeof(transmit_data));
        sprintf(transmit_data,"%s","\nRight Button Pushed");
	      HAL_UART_Transmit(&huart2, transmit_data, sizeof(transmit_data)/sizeof(transmit_data[0]),1000);
        memset(transmit_data, '\0', sizeof(transmit_data));
        bModeChanged = true;

        if (iMode == 60) {
          iMode = 1;
          // Set cursors and write the word "mode"
          ssd1306_SetCursor(0, 0);
          ssd1306_WriteString("Mode:", Font_16x26, White);

          ssd1306_SetCursor(0, 35);
          sprintf(sMode, "%d        ", iMode);
          ssd1306_WriteString(sMode, Font_16x26, White);

          // Copy all data from local screenbuffer to the screen
          ssd1306_UpdateScreen(&hi2c2);
        } else {
          iMode = iMode + 1;
          // Set cursors and write the word "mode"
          ssd1306_SetCursor(0, 0);
          ssd1306_WriteString("Mode:", Font_16x26, White);

          ssd1306_SetCursor(0, 35);
          sprintf(sMode, "%d        ", iMode);
          ssd1306_WriteString(sMode, Font_16x26, White);

          // Copy all data from local screenbuffer to the screen
          ssd1306_UpdateScreen(&hi2c2);

        }

      } else {
        //break
      }
    }
  preTicks = currentTicks;
}

// Callback: timer has rolled over
void HAL_TIM_PeriodElapsedCallback(TIM_HandleTypeDef *htim)
{
  // Check which version of the timer triggered this callback and toggle LED
  if (htim == &htim3)
  {
    beginTransmit = true;
  }
}

/* USER CODE END 4 */

void Error_Handler(void)
{
  __disable_irq();
  while (1)
  {
  }
}
